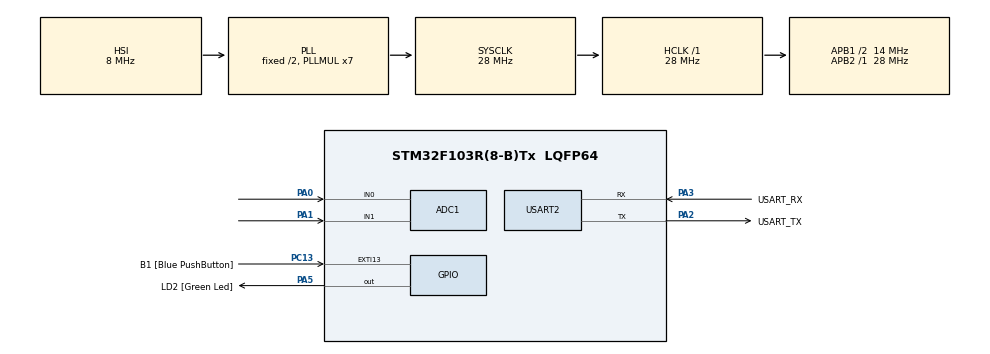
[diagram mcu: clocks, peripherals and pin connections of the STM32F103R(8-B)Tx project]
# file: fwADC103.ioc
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ADC1.Channel-0\#ChannelRegularConversion=ADC_CHANNEL_VREFINT
ADC1.Channel-1\#ChannelRegularConversion=ADC_CHANNEL_TEMPSENSOR
ADC1.Channel-2\#ChannelRegularConversion=ADC_CHANNEL_0
ADC1.Channel-3\#ChannelRegularConversion=ADC_CHANNEL_1
ADC1.ContinuousConvMode=ENABLE
ADC1.DataAlign=ADC_DATAALIGN_RIGHT
ADC1.DiscontinuousConvMode=DISABLE
ADC1.EnableAnalogWatchDog=false
ADC1.EnableRegularConversion=ENABLE
ADC1.ExternalTrigConv=ADC_SOFTWARE_START
ADC1.InjNumberOfConversion=0
ADC1.NbrOfConversion=4
ADC1.NbrOfConversionFlag=1
ADC1.Rank-0\#ChannelRegularConversion=1
ADC1.Rank-1\#ChannelRegularConversion=2
ADC1.Rank-2\#ChannelRegularConversion=3
ADC1.Rank-3\#ChannelRegularConversion=4
ADC1.SamplingTime-0\#ChannelRegularConversion=ADC_SAMPLETIME_1CYCLE_5
ADC1.SamplingTime-1\#ChannelRegularConversion=ADC_SAMPLETIME_1CYCLE_5
ADC1.SamplingTime-2\#ChannelRegularConversion=ADC_SAMPLETIME_1CYCLE_5
ADC1.SamplingTime-3\#ChannelRegularConversion=ADC_SAMPLETIME_1CYCLE_5
ADC1.ScanConvMode=ADC_SCAN_ENABLE
ADC1.master=1
Dma.ADC1.0.Direction=DMA_PERIPH_TO_MEMORY
Dma.ADC1.0.Instance=DMA1_Channel1
Dma.ADC1.0.MemDataAlignment=DMA_MDATAALIGN_HALFWORD
Dma.ADC1.0.MemInc=DMA_MINC_ENABLE
Dma.ADC1.0.Mode=DMA_NORMAL
Dma.ADC1.0.PeriphDataAlignment=DMA_PDATAALIGN_HALFWORD
Dma.ADC1.0.PeriphInc=DMA_PINC_DISABLE
Dma.ADC1.0.Priority=DMA_PRIORITY_LOW
Dma.Request0=ADC1
Mcu.Family=STM32F1
Mcu.Name=STM32F103R(8-B)Tx
Mcu.Package=LQFP64
NVIC.ADC1_2_IRQn=true\:0\:0\:false\:false\:true\:true
NVIC.DMA1_Channel1_IRQn=true\:0\:0\:false\:false\:true\:false
NVIC.EXTI15_10_IRQn=true\:0\:0\:false\:false\:true\:true
NVIC.PriorityGroup=NVIC_PRIORITYGROUP_4
PA0-WKUP.Signal=ADCx_IN0
PA1.Signal=ADCx_IN1
PA13.GPIO_Label=TMS
PA13.Mode=Serial_Wire
PA13.Signal=SYS_JTMS-SWDIO
PA14.GPIO_Label=TCK
PA14.Mode=Serial_Wire
PA14.Signal=SYS_JTCK-SWCLK
PA2.GPIO_Label=USART_TX
PA2.GPIO_Mode=GPIO_MODE_AF_PP
PA2.GPIO_PuPd=GPIO_NOPULL
PA2.GPIO_Speed=GPIO_SPEED_FREQ_LOW
PA2.Mode=Asynchronous
PA2.Signal=USART2_TX
PA3.GPIO_Label=USART_RX
PA3.GPIO_Mode=GPIO_MODE_AF_PP
PA3.GPIO_PuPd=GPIO_NOPULL
PA3.GPIO_Speed=GPIO_SPEED_FREQ_LOW
PA3.Mode=Asynchronous
PA3.Signal=USART2_RX
PA5.GPIO_Label=LD2 [Green Led]
PA5.GPIO_ModeDefaultOutputPP=GPIO_MODE_OUTPUT_PP
PA5.GPIO_PuPd=GPIO_NOPULL
PA5.GPIO_Speed=GPIO_SPEED_FREQ_LOW
PA5.Signal=GPIO_Output
PA9.Signal=S_TIM1_CH2
PB3.GPIO_Label=SWO
PB3.Signal=SYS_JTDO-TRACESWO
PC13-TAMPER-RTC.GPIO_Label=B1 [Blue PushButton]
PC13-TAMPER-RTC.GPIO_ModeDefaultEXTI=GPIO_MODE_IT_FALLING
PC13-TAMPER-RTC.GPIO_PuPd=GPIO_NOPULL
PC13-TAMPER-RTC.Signal=GPXTI13
PC14-OSC32_IN.Signal=RCC_OSC32_IN
PC15-OSC32_OUT.Signal=RCC_OSC32_OUT
PD0-OSC_IN.Mode=HSE-External-Oscillator
PD0-OSC_IN.Signal=RCC_OSC_IN
PD1-OSC_OUT.Mode=HSE-External-Oscillator
PD1-OSC_OUT.Signal=RCC_OSC_OUT
ProjectManager.HeapSize=0x200
ProjectManager.StackSize=0x400
ProjectManager.TargetToolchain=SW4STM32
RCC.AHBFreq_Value=28000000
RCC.APB1CLKDivider=RCC_HCLK_DIV2
RCC.APB1Freq_Value=14000000
RCC.APB1TimFreq_Value=28000000
RCC.APB2Freq_Value=28000000
RCC.APB2TimFreq_Value=28000000
RCC.HCLKFreq_Value=28000000
RCC.PLLMUL=RCC_PLL_MUL7
RCC.SYSCLKFreq_VALUE=28000000
RCC.SYSCLKSource=RCC_SYSCLKSOURCE_PLLCLK
RCC.USBFreq_Value=28000000
SH.ADCx_IN0.0=ADC1_IN0,IN0
SH.ADCx_IN1.0=ADC1_IN1,IN1
SH.S_TIM1_CH2.0=TIM1_CH2
USART2.VirtualMode=VM_ASYNC
VP_ADC1_TempSens_Input.Mode=IN-TempSens
VP_ADC1_Vref_Input.Mode=IN-Vrefint
board=NUCLEO-F103RB

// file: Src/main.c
/**
  ******************************************************************************
  * File Name          : main.c
  * Description        : Main program body
  ******************************************************************************
  ** This notice applies to any and all portions of this file
  * that are not between comment pairs USER CODE BEGIN and
  * USER CODE END. Other portions of this file, whether
  * inserted by the user or by software development tools
  * are owned by their respective copyright owners.
  *
  * COPYRIGHT(c) 2017 STMicroelectronics
  *
  * Redistribution and use in source and binary forms, with or without modification,
  * are permitted provided that the following conditions are met:
  *   1. Redistributions of source code must retain the above copyright notice,
  *      this list of conditions and the following disclaimer.
  *   2. Redistributions in binary form must reproduce the above copyright notice,
  *      this list of conditions and the following disclaimer in the documentation
  *      and/or other materials provided with the distribution.
  *   3. Neither the name of STMicroelectronics nor the names of its contributors
  *      may be used to endorse or promote products derived from this software
  *      without specific prior written permission.
  *
  * THIS SOFTWARE IS PROVIDED BY THE COPYRIGHT HOLDERS AND CONTRIBUTORS "AS IS"
  * AND ANY EXPRESS OR IMPLIED WARRANTIES, INCLUDING, BUT NOT LIMITED TO, THE
  * IMPLIED WARRANTIES OF MERCHANTABILITY AND FITNESS FOR A PARTICULAR PURPOSE ARE
  * DISCLAIMED. IN NO EVENT SHALL THE COPYRIGHT HOLDER OR CONTRIBUTORS BE LIABLE
  * FOR ANY DIRECT, INDIRECT, INCIDENTAL, SPECIAL, EXEMPLARY, OR CONSEQUENTIAL
  * DAMAGES (INCLUDING, BUT NOT LIMITED TO, PROCUREMENT OF SUBSTITUTE GOODS OR
  * SERVICES; LOSS OF USE, DATA, OR PROFITS; OR BUSINESS INTERRUPTION) HOWEVER
  * CAUSED AND ON ANY THEORY OF LIABILITY, WHETHER IN CONTRACT, STRICT LIABILITY,
  * OR TORT (INCLUDING NEGLIGENCE OR OTHERWISE) ARISING IN ANY WAY OUT OF THE USE
  * OF THIS SOFTWARE, EVEN IF ADVISED OF THE POSSIBILITY OF SUCH DAMAGE.
  *
  ******************************************************************************
  */
#include "main.h"
#include "stm32f1xx_hal.h"
#include "adc.h"
#include "dma.h"
#include "usart.h"
#include "gpio.h"

/* USER CODE BEGIN PV */
/* Private variables ---------------------------------------------------------*/
volatile uint8_t f_adc_data_ready = 1;
/* USER CODE END PV */

void SystemClock_Config(void);

/* USER CODE BEGIN PFP */
/* Private function prototypes -----------------------------------------------*/

/* USER CODE END PFP */

/* USER CODE BEGIN 0 */
float code2voltage(float vref, uint16_t code)
{
	return (vref/4096.0 * code);
}
/* USER CODE END 0 */

int main(void)
{

  /* MCU Configuration----------------------------------------------------------*/

  /* Reset of all peripherals, Initializes the Flash interface and the Systick. */
  HAL_Init();

  /* Configure the system clock */
  SystemClock_Config();

  /* Initialize all configured peripherals */
  MX_GPIO_Init();
  MX_DMA_Init();
  MX_ADC1_Init();
  MX_USART2_UART_Init();

  /* Infinite loop */
  /* USER CODE BEGIN WHILE */
  static char str[64];
  static uint16_t adc_buffer[4];
  while (1)
  {
  /* USER CODE END WHILE */

  /* USER CODE BEGIN 3 */
	  if(f_adc_data_ready){
		  f_adc_data_ready = 0;
		  if(HAL_ADC_Start_DMA(&hadc1, (uint32_t*)&adc_buffer, hadc1.Init.NbrOfConversion) != HAL_OK);
		  sprintf(str, "Vref: %d Ut: %5.3f U0: %5.3f U1: %5.3f\n",
		  			  adc_buffer[0],
		  			  code2voltage(/*adc_buffer[0]*/3.314, adc_buffer[1]),
		  			  code2voltage(/*adc_buffer[0]*/3.314, adc_buffer[2]),
		  			  code2voltage(/*adc_buffer[0]*/3.314, adc_buffer[3]));
		  HAL_UART_Transmit(&huart2, str, strlen(str), 0xFFFFFFFF);

	  }

	  uint16_t ADCValue = HAL_ADC_GetValue(&hadc1);
	  HAL_Delay(100);
	  HAL_GPIO_TogglePin(LD2_GPIO_Port, LD2_Pin);

  }
  /* USER CODE END 3 */

}

/** System Clock Configuration
*/
void SystemClock_Config(void)
{

  RCC_OscInitTypeDef RCC_OscInitStruct;
  RCC_ClkInitTypeDef RCC_ClkInitStruct;
  RCC_PeriphCLKInitTypeDef PeriphClkInit;

    /**Initializes the CPU, AHB and APB busses clocks
    */
  RCC_OscInitStruct.OscillatorType = RCC_OSCILLATORTYPE_HSI;
  RCC_OscInitStruct.HSIState = RCC_HSI_ON;
  RCC_OscInitStruct.HSICalibrationValue = 16;
  RCC_OscInitStruct.PLL.PLLState = RCC_PLL_ON;
  RCC_OscInitStruct.PLL.PLLSource = RCC_PLLSOURCE_HSI_DIV2;
  RCC_OscInitStruct.PLL.PLLMUL = RCC_PLL_MUL7;
  if (HAL_RCC_OscConfig(&RCC_OscInitStruct) != HAL_OK)
  {
    _Error_Handler(__FILE__, __LINE__);
  }

    /**Initializes the CPU, AHB and APB busses clocks
    */
  RCC_ClkInitStruct.ClockType = RCC_CLOCKTYPE_HCLK|RCC_CLOCKTYPE_SYSCLK
                              |RCC_CLOCKTYPE_PCLK1|RCC_CLOCKTYPE_PCLK2;
  RCC_ClkInitStruct.SYSCLKSource = RCC_SYSCLKSOURCE_PLLCLK;
  RCC_ClkInitStruct.AHBCLKDivider = RCC_SYSCLK_DIV1;
  RCC_ClkInitStruct.APB1CLKDivider = RCC_HCLK_DIV2;
  RCC_ClkInitStruct.APB2CLKDivider = RCC_HCLK_DIV1;

  if (HAL_RCC_ClockConfig(&RCC_ClkInitStruct, FLASH_LATENCY_1) != HAL_OK)
  {
    _Error_Handler(__FILE__, __LINE__);
  }

  PeriphClkInit.PeriphClockSelection = RCC_PERIPHCLK_ADC;
  PeriphClkInit.AdcClockSelection = RCC_ADCPCLK2_DIV2;
  if (HAL_RCCEx_PeriphCLKConfig(&PeriphClkInit) != HAL_OK)
  {
    _Error_Handler(__FILE__, __LINE__);
  }

    /**Configure the Systick interrupt time
    */
  HAL_SYSTICK_Config(HAL_RCC_GetHCLKFreq()/1000);

    /**Configure the Systick
    */
  HAL_SYSTICK_CLKSourceConfig(SYSTICK_CLKSOURCE_HCLK);

  /* SysTick_IRQn interrupt configuration */
  HAL_NVIC_SetPriority(SysTick_IRQn, 0, 0);
}

/* USER CODE BEGIN 4 */
void HAL_ADC_ConvCpltCallback(ADC_HandleTypeDef* AdcHandle)
{
	f_adc_data_ready = 1;
	HAL_ADC_Stop_DMA(&hadc1);

}
/* USER CODE END 4 */

void _Error_Handler(char * file, int line)
{
  while(1)
  {
  }
}

/************************ (C) COPYRIGHT STMicroelectronics *****END OF FILE****/
